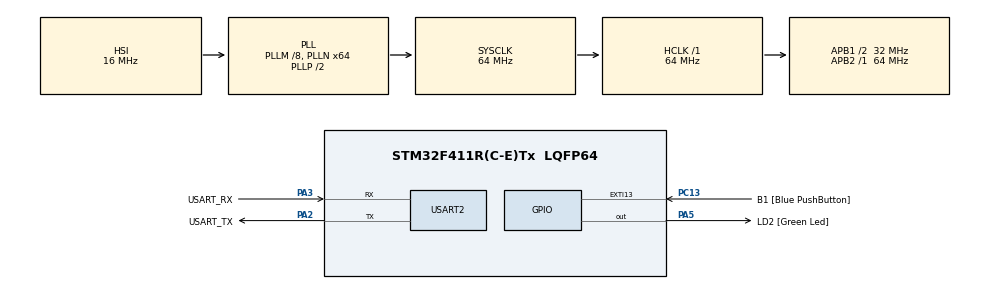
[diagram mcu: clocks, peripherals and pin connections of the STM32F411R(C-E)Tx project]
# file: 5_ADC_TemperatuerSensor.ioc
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ADC1.Channel-0\#ChannelRegularConversion=ADC_CHANNEL_TEMPSENSOR
ADC1.ContinuousConvMode=ENABLE
ADC1.NbrOfConversionFlag=1
ADC1.Rank-0\#ChannelRegularConversion=1
ADC1.SamplingTime-0\#ChannelRegularConversion=ADC_SAMPLETIME_15CYCLES
ADC1.master=1
Mcu.Family=STM32F4
Mcu.Name=STM32F411R(C-E)Tx
Mcu.Package=LQFP64
NVIC.PriorityGroup=NVIC_PRIORITYGROUP_0
PA13.GPIO_Label=TMS
PA13.Mode=Serial_Wire
PA13.Signal=SYS_JTMS-SWDIO
PA14.GPIO_Label=TCK
PA14.Mode=Serial_Wire
PA14.Signal=SYS_JTCK-SWCLK
PA2.GPIO_Label=USART_TX
PA2.Mode=Asynchronous
PA2.Signal=USART2_TX
PA3.GPIO_Label=USART_RX
PA3.Mode=Asynchronous
PA3.Signal=USART2_RX
PA5.GPIO_Label=LD2 [Green Led]
PA5.Signal=GPIO_Output
PB3.GPIO_Label=SWO
PB3.Signal=SYS_JTDO-SWO
PC13-ANTI_TAMP.GPIO_Label=B1 [Blue PushButton]
PC13-ANTI_TAMP.GPIO_ModeDefaultEXTI=GPIO_MODE_IT_FALLING
PC13-ANTI_TAMP.Signal=GPXTI13
PC14-OSC32_IN.Signal=RCC_OSC32_IN
PC15-OSC32_OUT.Signal=RCC_OSC32_OUT
PH0\ -\ OSC_IN.Signal=RCC_OSC_IN
PH1\ -\ OSC_OUT.Signal=RCC_OSC_OUT
ProjectManager.HeapSize=0x200
ProjectManager.StackSize=0x400
ProjectManager.TargetToolchain=STM32CubeIDE
RCC.48MHZClocksFreq_Value=32000000
RCC.AHBFreq_Value=64000000
RCC.APB1CLKDivider=RCC_HCLK_DIV2
RCC.APB1Freq_Value=32000000
RCC.APB1TimFreq_Value=64000000
RCC.APB2Freq_Value=64000000
RCC.APB2TimFreq_Value=64000000
RCC.CortexFreq_Value=64000000
RCC.FLatency-AdvancedSettings=FLASH_LATENCY_2
RCC.HCLKFreq_Value=64000000
RCC.HSE_VALUE=8000000
RCC.HSI_VALUE=16000000
RCC.PLLM=8
RCC.PLLN=64
RCC.SYSCLKFreq_VALUE=64000000
RCC.SYSCLKSource=RCC_SYSCLKSOURCE_PLLCLK
RCC.VCOOutputFreq_Value=128000000
USART2.VirtualMode=VM_ASYNC
VP_ADC1_TempSens_Input.Mode=IN-TempSens
board=NUCLEO-F411RE

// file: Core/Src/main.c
/* USER CODE BEGIN Header */
/**
  ******************************************************************************
  * @file           : main.c
  * @brief          : Main program body
  ******************************************************************************
  * @attention
  *
  * Copyright (c) 2024 STMicroelectronics.
  * All rights reserved.
  *
  * This software is licensed under terms that can be found in the LICENSE file
  * in the root directory of this software component.
  * If no LICENSE file comes with this software, it is provided AS-IS.
  *
  ******************************************************************************
  */
/* USER CODE END Header */
#include "main.h"

ADC_HandleTypeDef hadc1;

UART_HandleTypeDef huart2;

void SystemClock_Config(void);
static void MX_GPIO_Init(void);
static void MX_USART2_UART_Init(void);
static void MX_ADC1_Init(void);

/* USER CODE BEGIN 0 */
#ifdef __GNUC__
/* With GCC, small printf (option LD Linker->Libraries->Small printf
 * set to 'Yes') calls __io_putchar()*/
#define PUTCHAR_PROTOTYPE int __io_putchar(int ch)
#else
#define PUTCHAR_PROTOTYPE int fputc(int ch, FILE *f)
#endif /*__GNUC__*/

/**
 * @brief Retargets the C library printf function to the USART.
 * @param None
 * @retval None
 */
PUTCHAR_PROTOTYPE
{
	/*Place your implementation of fputc here */
	/* e.g. write a character to the USART1 and Loop
	 * until the end of transmission */
	if(ch == '/n')
		HAL_UART_Transmit(&huart2, (uint8_t*) "/r", 1, 0xFFFF);
		HAL_UART_Transmit(&huart2, (uint8_t*) &ch, 1, 0xFFFF);

	return ch;
}
/* USER CODE END 0 */

int main(void)
{

  /* MCU Configuration--------------------------------------------------------*/

  /* Reset of all peripherals, Initializes the Flash interface and the Systick. */
  HAL_Init();

  /* Configure the system clock */
  SystemClock_Config();

  /* Initialize all configured peripherals */
  MX_GPIO_Init();
  MX_USART2_UART_Init();
  MX_ADC1_Init();

  /* Infinite loop */
  /* USER CODE BEGIN WHILE */

  if (HAL_ADC_Start(&hadc1) != HAL_OK)
  {
	  Error_Handler();
  }

  uint16_t adc1;
  while (1)
  {
	  HAL_ADC_PollForConversion(&hadc1, 100);
	  adc1 = HAL_ADC_GetValue(&hadc1);
	  printf("ADC!_temperature: %d \n", adc1);

    /* USER CODE END WHILE */

    /* USER CODE BEGIN 3 */
	  HAL_Delay(100);
  }
  /* USER CODE END 3 */
}

void SystemClock_Config(void)
{
  RCC_OscInitTypeDef RCC_OscInitStruct = {0};
  RCC_ClkInitTypeDef RCC_ClkInitStruct = {0};

  /** Configure the main internal regulator output voltage
  */
  __HAL_RCC_PWR_CLK_ENABLE();
  __HAL_PWR_VOLTAGESCALING_CONFIG(PWR_REGULATOR_VOLTAGE_SCALE1);

  /** Initializes the RCC Oscillators according to the specified parameters
  * in the RCC_OscInitTypeDef structure.
  */
  RCC_OscInitStruct.OscillatorType = RCC_OSCILLATORTYPE_HSI;
  RCC_OscInitStruct.HSIState = RCC_HSI_ON;
  RCC_OscInitStruct.HSICalibrationValue = RCC_HSICALIBRATION_DEFAULT;
  RCC_OscInitStruct.PLL.PLLState = RCC_PLL_ON;
  RCC_OscInitStruct.PLL.PLLSource = RCC_PLLSOURCE_HSI;
  RCC_OscInitStruct.PLL.PLLM = 8;
  RCC_OscInitStruct.PLL.PLLN = 64;
  RCC_OscInitStruct.PLL.PLLP = RCC_PLLP_DIV2;
  RCC_OscInitStruct.PLL.PLLQ = 4;
  if (HAL_RCC_OscConfig(&RCC_OscInitStruct) != HAL_OK)
  {
    Error_Handler();
  }

  /** Initializes the CPU, AHB and APB buses clocks
  */
  RCC_ClkInitStruct.ClockType = RCC_CLOCKTYPE_HCLK|RCC_CLOCKTYPE_SYSCLK
                              |RCC_CLOCKTYPE_PCLK1|RCC_CLOCKTYPE_PCLK2;
  RCC_ClkInitStruct.SYSCLKSource = RCC_SYSCLKSOURCE_PLLCLK;
  RCC_ClkInitStruct.AHBCLKDivider = RCC_SYSCLK_DIV1;
  RCC_ClkInitStruct.APB1CLKDivider = RCC_HCLK_DIV2;
  RCC_ClkInitStruct.APB2CLKDivider = RCC_HCLK_DIV1;

  if (HAL_RCC_ClockConfig(&RCC_ClkInitStruct, FLASH_LATENCY_2) != HAL_OK)
  {
    Error_Handler();
  }
}

static void MX_ADC1_Init(void)
{

  ADC_ChannelConfTypeDef sConfig = {0};

  /** Configure the global features of the ADC (Clock, Resolution, Data Alignment and number of conversion)
  */
  hadc1.Instance = ADC1;
  hadc1.Init.ClockPrescaler = ADC_CLOCK_SYNC_PCLK_DIV2;
  hadc1.Init.Resolution = ADC_RESOLUTION_12B;
  hadc1.Init.ScanConvMode = DISABLE;
  hadc1.Init.ContinuousConvMode = ENABLE;
  hadc1.Init.DiscontinuousConvMode = DISABLE;
  hadc1.Init.ExternalTrigConvEdge = ADC_EXTERNALTRIGCONVEDGE_NONE;
  hadc1.Init.ExternalTrigConv = ADC_SOFTWARE_START;
  hadc1.Init.DataAlign = ADC_DATAALIGN_RIGHT;
  hadc1.Init.NbrOfConversion = 1;
  hadc1.Init.DMAContinuousRequests = DISABLE;
  hadc1.Init.EOCSelection = ADC_EOC_SINGLE_CONV;
  if (HAL_ADC_Init(&hadc1) != HAL_OK)
  {
    Error_Handler();
  }

  /** Configure for the selected ADC regular channel its corresponding rank in the sequencer and its sample time.
  */
  sConfig.Channel = ADC_CHANNEL_TEMPSENSOR;
  sConfig.Rank = 1;
  sConfig.SamplingTime = ADC_SAMPLETIME_15CYCLES;
  if (HAL_ADC_ConfigChannel(&hadc1, &sConfig) != HAL_OK)
  {
    Error_Handler();
  }

}

static void MX_USART2_UART_Init(void)
{

  huart2.Instance = USART2;
  huart2.Init.BaudRate = 115200;
  huart2.Init.WordLength = UART_WORDLENGTH_8B;
  huart2.Init.StopBits = UART_STOPBITS_1;
  huart2.Init.Parity = UART_PARITY_NONE;
  huart2.Init.Mode = UART_MODE_TX_RX;
  huart2.Init.HwFlowCtl = UART_HWCONTROL_NONE;
  huart2.Init.OverSampling = UART_OVERSAMPLING_16;
  if (HAL_UART_Init(&huart2) != HAL_OK)
  {
    Error_Handler();
  }

}

static void MX_GPIO_Init(void)
{
  GPIO_InitTypeDef GPIO_InitStruct = {0};

  /* GPIO Ports Clock Enable */
  __HAL_RCC_GPIOC_CLK_ENABLE();
  __HAL_RCC_GPIOH_CLK_ENABLE();
  __HAL_RCC_GPIOA_CLK_ENABLE();
  __HAL_RCC_GPIOB_CLK_ENABLE();

  /*Configure GPIO pin Output Level */
  HAL_GPIO_WritePin(LD2_GPIO_Port, LD2_Pin, GPIO_PIN_RESET);

  /*Configure GPIO pin : B1_Pin */
  GPIO_InitStruct.Pin = B1_Pin;
  GPIO_InitStruct.Mode = GPIO_MODE_IT_FALLING;
  GPIO_InitStruct.Pull = GPIO_NOPULL;
  HAL_GPIO_Init(B1_GPIO_Port, &GPIO_InitStruct);

  /*Configure GPIO pin : LD2_Pin */
  GPIO_InitStruct.Pin = LD2_Pin;
  GPIO_InitStruct.Mode = GPIO_MODE_OUTPUT_PP;
  GPIO_InitStruct.Pull = GPIO_NOPULL;
  GPIO_InitStruct.Speed = GPIO_SPEED_FREQ_LOW;
  HAL_GPIO_Init(LD2_GPIO_Port, &GPIO_InitStruct);

}

void Error_Handler(void)
{
  __disable_irq();
  while (1)
  {
  }
}
